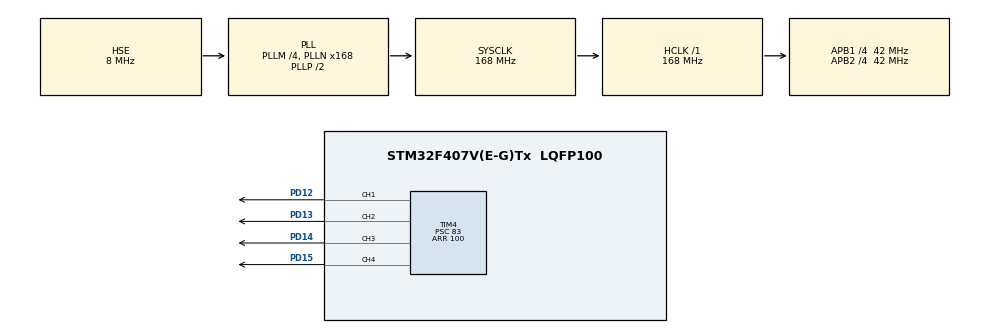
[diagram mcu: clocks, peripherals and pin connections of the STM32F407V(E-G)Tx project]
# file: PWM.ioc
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Mcu.Family=STM32F4
Mcu.Name=STM32F407V(E-G)Tx
Mcu.Package=LQFP100
NVIC.PriorityGroup=NVIC_PRIORITYGROUP_4
PA13.Mode=Serial_Wire
PA13.Signal=SYS_JTMS-SWDIO
PA14.Mode=Serial_Wire
PA14.Signal=SYS_JTCK-SWCLK
PD12.Signal=S_TIM4_CH1
PD13.Signal=S_TIM4_CH2
PD14.Signal=S_TIM4_CH3
PD15.Signal=S_TIM4_CH4
PH0-OSC_IN.Mode=HSE-External-Oscillator
PH0-OSC_IN.Signal=RCC_OSC_IN
PH1-OSC_OUT.Mode=HSE-External-Oscillator
PH1-OSC_OUT.Signal=RCC_OSC_OUT
ProjectManager.HeapSize=0x200
ProjectManager.StackSize=0x400
ProjectManager.TargetToolchain=STM32CubeIDE
RCC.48MHZClocksFreq_Value=84000000
RCC.AHBFreq_Value=168000000
RCC.APB1CLKDivider=RCC_HCLK_DIV4
RCC.APB1Freq_Value=42000000
RCC.APB1TimFreq_Value=84000000
RCC.APB2CLKDivider=RCC_HCLK_DIV4
RCC.APB2Freq_Value=42000000
RCC.APB2TimFreq_Value=84000000
RCC.CortexFreq_Value=168000000
RCC.HCLKFreq_Value=168000000
RCC.HSE_VALUE=8000000
RCC.HSI_VALUE=16000000
RCC.LSE_VALUE=32768
RCC.PLLM=4
RCC.PLLN=168
RCC.PLLSourceVirtual=RCC_PLLSOURCE_HSE
RCC.SYSCLKFreq_VALUE=168000000
RCC.SYSCLKSource=RCC_SYSCLKSOURCE_PLLCLK
RCC.VCOOutputFreq_Value=336000000
SH.S_TIM4_CH1.0=TIM4_CH1,PWM Generation1 CH1
SH.S_TIM4_CH2.0=TIM4_CH2,PWM Generation2 CH2
SH.S_TIM4_CH3.0=TIM4_CH3,PWM Generation3 CH3
SH.S_TIM4_CH4.0=TIM4_CH4,PWM Generation4 CH4
TIM4.Channel-PWM\ Generation1\ CH1=TIM_CHANNEL_1
TIM4.Channel-PWM\ Generation2\ CH2=TIM_CHANNEL_2
TIM4.Channel-PWM\ Generation3\ CH3=TIM_CHANNEL_3
TIM4.Channel-PWM\ Generation4\ CH4=TIM_CHANNEL_4
TIM4.Period=100
TIM4.Prescaler=83
board=custom

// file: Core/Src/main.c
/* USER CODE BEGIN Header */
/**
  ******************************************************************************
  * @file           : main.c
  * @brief          : Main program body
  ******************************************************************************
  * @attention
  *
  * Copyright (c) 2023 STMicroelectronics.
  * All rights reserved.
  *
  * This software is licensed under terms that can be found in the LICENSE file
  * in the root directory of this software component.
  * If no LICENSE file comes with this software, it is provided AS-IS.
  *
  ******************************************************************************
  */
/* USER CODE END Header */
#include "main.h"

TIM_HandleTypeDef htim4;

void SystemClock_Config(void);
static void MX_GPIO_Init(void);
static void MX_TIM4_Init(void);

/* USER CODE BEGIN 0 */
int8_t _abs(int8_t number)
{
	if (number < 0) return -number;
	return number;
}
/* USER CODE END 0 */

int main(void)
{
  /* USER CODE BEGIN 1 */
	int8_t pulse = 0;
	const int8_t period = 100;
  /* USER CODE END 1 */

  /* MCU Configuration--------------------------------------------------------*/

  /* Reset of all peripherals, Initializes the Flash interface and the Systick. */
  HAL_Init();

  /* Configure the system clock */
  SystemClock_Config();

  /* Initialize all configured peripherals */
  MX_GPIO_Init();
  MX_TIM4_Init();
  /* USER CODE BEGIN 2 */
  HAL_TIM_PWM_Start(&htim4, TIM_CHANNEL_1);
  HAL_TIM_PWM_Start(&htim4, TIM_CHANNEL_2);
  HAL_TIM_PWM_Start(&htim4, TIM_CHANNEL_3);
  HAL_TIM_PWM_Start(&htim4, TIM_CHANNEL_4);
  /* USER CODE END 2 */

  /* Infinite loop */
  /* USER CODE BEGIN WHILE */
  while (1)
  {
	  __HAL_TIM_SET_COMPARE(&htim4, TIM_CHANNEL_1, _abs(pulse));
	  __HAL_TIM_SET_COMPARE(&htim4, TIM_CHANNEL_2, _abs(pulse));
	  __HAL_TIM_SET_COMPARE(&htim4, TIM_CHANNEL_3, _abs(pulse));
	  __HAL_TIM_SET_COMPARE(&htim4, TIM_CHANNEL_4, _abs(pulse));
	  if (period == pulse)
	  {
		  pulse = -period;
	  }
	  pulse ++;
	  HAL_Delay(50);
    /* USER CODE END WHILE */

  }
}

void SystemClock_Config(void)
{
  RCC_OscInitTypeDef RCC_OscInitStruct = {0};
  RCC_ClkInitTypeDef RCC_ClkInitStruct = {0};

  /** Configure the main internal regulator output voltage
  */
  __HAL_RCC_PWR_CLK_ENABLE();
  __HAL_PWR_VOLTAGESCALING_CONFIG(PWR_REGULATOR_VOLTAGE_SCALE1);

  /** Initializes the RCC Oscillators according to the specified parameters
  * in the RCC_OscInitTypeDef structure.
  */
  RCC_OscInitStruct.OscillatorType = RCC_OSCILLATORTYPE_HSE;
  RCC_OscInitStruct.HSEState = RCC_HSE_ON;
  RCC_OscInitStruct.PLL.PLLState = RCC_PLL_ON;
  RCC_OscInitStruct.PLL.PLLSource = RCC_PLLSOURCE_HSE;
  RCC_OscInitStruct.PLL.PLLM = 4;
  RCC_OscInitStruct.PLL.PLLN = 168;
  RCC_OscInitStruct.PLL.PLLP = RCC_PLLP_DIV2;
  RCC_OscInitStruct.PLL.PLLQ = 4;
  if (HAL_RCC_OscConfig(&RCC_OscInitStruct) != HAL_OK)
  {
    Error_Handler();
  }

  /** Initializes the CPU, AHB and APB buses clocks
  */
  RCC_ClkInitStruct.ClockType = RCC_CLOCKTYPE_HCLK|RCC_CLOCKTYPE_SYSCLK
                              |RCC_CLOCKTYPE_PCLK1|RCC_CLOCKTYPE_PCLK2;
  RCC_ClkInitStruct.SYSCLKSource = RCC_SYSCLKSOURCE_PLLCLK;
  RCC_ClkInitStruct.AHBCLKDivider = RCC_SYSCLK_DIV1;
  RCC_ClkInitStruct.APB1CLKDivider = RCC_HCLK_DIV4;
  RCC_ClkInitStruct.APB2CLKDivider = RCC_HCLK_DIV4;

  if (HAL_RCC_ClockConfig(&RCC_ClkInitStruct, FLASH_LATENCY_5) != HAL_OK)
  {
    Error_Handler();
  }
}

static void MX_TIM4_Init(void)
{

  TIM_MasterConfigTypeDef sMasterConfig = {0};
  TIM_OC_InitTypeDef sConfigOC = {0};

  htim4.Instance = TIM4;
  htim4.Init.Prescaler = 83;
  htim4.Init.CounterMode = TIM_COUNTERMODE_UP;
  htim4.Init.Period = 100;
  htim4.Init.ClockDivision = TIM_CLOCKDIVISION_DIV1;
  htim4.Init.AutoReloadPreload = TIM_AUTORELOAD_PRELOAD_DISABLE;
  if (HAL_TIM_PWM_Init(&htim4) != HAL_OK)
  {
    Error_Handler();
  }
  sMasterConfig.MasterOutputTrigger = TIM_TRGO_RESET;
  sMasterConfig.MasterSlaveMode = TIM_MASTERSLAVEMODE_DISABLE;
  if (HAL_TIMEx_MasterConfigSynchronization(&htim4, &sMasterConfig) != HAL_OK)
  {
    Error_Handler();
  }
  sConfigOC.OCMode = TIM_OCMODE_PWM1;
  sConfigOC.Pulse = 0;
  sConfigOC.OCPolarity = TIM_OCPOLARITY_HIGH;
  sConfigOC.OCFastMode = TIM_OCFAST_DISABLE;
  if (HAL_TIM_PWM_ConfigChannel(&htim4, &sConfigOC, TIM_CHANNEL_1) != HAL_OK)
  {
    Error_Handler();
  }
  if (HAL_TIM_PWM_ConfigChannel(&htim4, &sConfigOC, TIM_CHANNEL_2) != HAL_OK)
  {
    Error_Handler();
  }
  if (HAL_TIM_PWM_ConfigChannel(&htim4, &sConfigOC, TIM_CHANNEL_3) != HAL_OK)
  {
    Error_Handler();
  }
  if (HAL_TIM_PWM_ConfigChannel(&htim4, &sConfigOC, TIM_CHANNEL_4) != HAL_OK)
  {
    Error_Handler();
  }
  HAL_TIM_MspPostInit(&htim4);

}

static void MX_GPIO_Init(void)
{

  /* GPIO Ports Clock Enable */
  __HAL_RCC_GPIOH_CLK_ENABLE();
  __HAL_RCC_GPIOD_CLK_ENABLE();
  __HAL_RCC_GPIOA_CLK_ENABLE();

}

void Error_Handler(void)
{
  __disable_irq();
  while (1)
  {
  }
}
